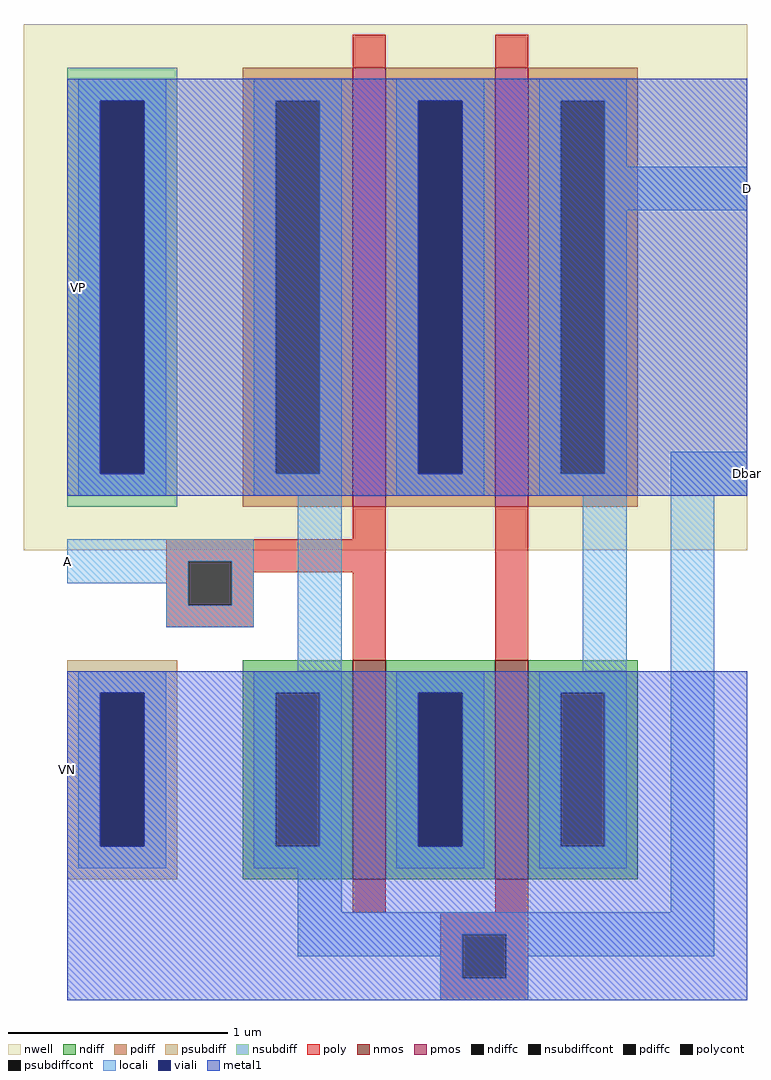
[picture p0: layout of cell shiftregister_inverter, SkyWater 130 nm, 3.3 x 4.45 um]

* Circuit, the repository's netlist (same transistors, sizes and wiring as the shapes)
* SPICE3 file created from shiftregister_inverter.ext - technology: sky130A

*.subckt shiftregister_inverter A D Dbar VP VN
X0 D Dbar VN VN sky130_fd_pr__nfet_01v8 ad=0.5 pd=3 as=0.25 ps=1.5 w=1 l=0.15
X1 D Dbar VP VP sky130_fd_pr__pfet_01v8 ad=1 pd=5 as=0.5 ps=2.5 w=2 l=0.15
X2 VN A Dbar VN sky130_fd_pr__nfet_01v8 ad=0.25 pd=1.5 as=0.5 ps=3 w=1 l=0.15
X3 VP A Dbar VP sky130_fd_pr__pfet_01v8 ad=0.5 pd=2.5 as=1 ps=5 w=2 l=0.15
*.ends

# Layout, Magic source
magic
tech sky130A
<< nwell >>
rect -310 515 20 755
<< nmos >>
rect -160 365 -145 465
rect -95 365 -80 465
<< pmos >>
rect -160 535 -145 735
rect -95 535 -80 735
<< ndiff >>
rect -210 450 -160 465
rect -210 380 -195 450
rect -175 380 -160 450
rect -210 365 -160 380
rect -145 450 -95 465
rect -145 380 -130 450
rect -110 380 -95 450
rect -145 365 -95 380
rect -80 450 -30 465
rect -80 380 -65 450
rect -45 380 -30 450
rect -80 365 -30 380
<< pdiff >>
rect -210 720 -160 735
rect -210 550 -195 720
rect -175 550 -160 720
rect -210 535 -160 550
rect -145 720 -95 735
rect -145 550 -130 720
rect -110 550 -95 720
rect -145 535 -95 550
rect -80 720 -30 735
rect -80 550 -65 720
rect -45 550 -30 720
rect -80 535 -30 550
<< ndiffc >>
rect -195 380 -175 450
rect -130 380 -110 450
rect -65 380 -45 450
<< pdiffc >>
rect -195 550 -175 720
rect -130 550 -110 720
rect -65 550 -45 720
<< psubdiff >>
rect -290 450 -240 465
rect -290 380 -275 450
rect -255 380 -240 450
rect -290 365 -240 380
<< nsubdiff >>
rect -290 720 -240 735
rect -290 550 -275 720
rect -255 550 -240 720
rect -290 535 -240 550
<< psubdiffcont >>
rect -275 380 -255 450
<< nsubdiffcont >>
rect -275 550 -255 720
<< poly >>
rect -160 735 -145 750
rect -95 735 -80 750
rect -160 520 -145 535
rect -245 510 -145 520
rect -245 490 -235 510
rect -215 505 -145 510
rect -215 490 -205 505
rect -245 480 -205 490
rect -160 465 -145 505
rect -95 465 -80 535
rect -160 350 -145 365
rect -95 350 -80 365
rect -120 340 -80 350
rect -120 320 -110 340
rect -90 320 -80 340
rect -120 310 -80 320
<< polycont >>
rect -235 490 -215 510
rect -110 320 -90 340
<< locali >>
rect -285 720 -245 730
rect -285 550 -275 720
rect -255 550 -245 720
rect -285 540 -245 550
rect -205 720 -165 730
rect -205 550 -195 720
rect -175 550 -165 720
rect -205 540 -165 550
rect -140 720 -100 730
rect -140 550 -130 720
rect -110 550 -100 720
rect -140 540 -100 550
rect -75 720 -35 730
rect -75 550 -65 720
rect -45 690 -35 720
rect -45 670 20 690
rect -45 550 -35 670
rect -75 540 -35 550
rect -290 510 -205 520
rect -290 500 -235 510
rect -245 490 -235 500
rect -215 490 -205 510
rect -245 480 -205 490
rect -185 460 -165 540
rect -55 460 -35 540
rect -285 450 -245 460
rect -285 380 -275 450
rect -255 380 -245 450
rect -285 370 -245 380
rect -205 450 -165 460
rect -205 380 -195 450
rect -175 380 -165 450
rect -205 370 -165 380
rect -140 450 -100 460
rect -140 380 -130 450
rect -110 380 -100 450
rect -140 370 -100 380
rect -75 450 -35 460
rect -75 380 -65 450
rect -45 380 -35 450
rect -75 370 -35 380
rect -15 540 20 560
rect -185 350 -165 370
rect -15 350 5 540
rect -185 340 5 350
rect -185 330 -110 340
rect -120 320 -110 330
rect -90 330 5 340
rect -90 320 -80 330
rect -120 310 -80 320
<< viali >>
rect -275 550 -255 720
rect -130 550 -110 720
rect -275 380 -255 450
rect -130 380 -110 450
<< metal1 >>
rect -290 720 20 730
rect -290 550 -275 720
rect -255 550 -130 720
rect -110 550 20 720
rect -290 540 20 550
rect -290 450 20 460
rect -290 380 -275 450
rect -255 380 -130 450
rect -110 380 20 450
rect -290 310 20 380
<< labels >>
rlabel locali 20 680 20 680 3 D
port 2 e
rlabel locali 20 550 20 550 3 Dbar
port 3 e
rlabel metal1 -285 635 -285 635 7 VP
port 4 w
rlabel metal1 -290 415 -290 415 7 VN
port 5 w
rlabel locali -290 510 -290 510 7 A
port 1 w
<< end >>
